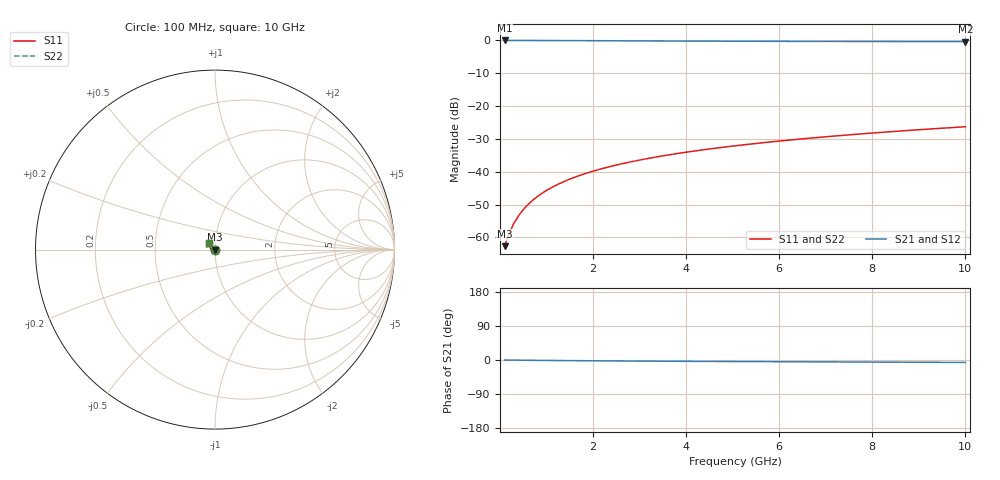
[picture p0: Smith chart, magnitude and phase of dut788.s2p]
! Touchstone file exported from HFSS 2024.1.0
!  File:  C:/UserFiles/LocalFiles/RDL_TSV_Batchsim/temp_TSV1_788_1779875185.aedt
!  Generated:  05:55:02 PM May 27, 2026
!  Design:  TSV1
!  Project:  temp_TSV1_788_1779875185
!  Setup:  Setup1
!  Solution:  Sweep
! Variables:
!  dtsv = 5.38um
!  hbump = 3um
!  htsv = 92.5um
!  lrdl = 252.1521522um
!  p = 40
!  p1 = 57.02um
!  t = 500um
!  trdl = 3um
!  wrdl = 24.89489489um
# GHz S MA R 50.000000
! Terminal data exported
! Port[1] = TSV22_T1
! Port[2] = TSV22_T2
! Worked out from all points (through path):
!   100 points, 100 MHz to 10 GHz, reference 50 ohm
!   highest |S21| = 0.00 dB at 100 MHz (marker M1); lowest = -0.4 dB at 10 GHz (marker M2)
!   lowest |S11| = -62.7 dB at 100 MHz (marker M3), VSWR 1.00, Z = 50.1 - j0.0534 ohm
!   |S11| at or under -10 dB: start of sweep to end of sweep
!   |S22| runs from -62.7 to -26.3 dB; largest |S21 - S12| = 6.5e-15
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0.1  0.0007348 -46.6  0.9994 -0.1  0.9994 -0.1  0.0007348 -46.6
! Gamma 0 0 0 0
! Port Impedance 50 0 50 0
0.2  0.001161 -68.1  0.9993 -0.2  0.9993 -0.2  0.001161 -68.1
0.3  0.001641 -79.3  0.9992 -0.4  0.9992 -0.4  0.001641 -79.3
0.4  0.002139 -86.7  0.999 -0.5  0.999 -0.5  0.002139 -86.7
0.5  0.002643 -92.3  0.9988 -0.6  0.9988 -0.6  0.002643 -92.3
0.6  0.003151 -97.0  0.9985 -0.7  0.9985 -0.7  0.003151 -97.0
0.7  0.00366 -101.1  0.9982 -0.8  0.9982 -0.8  0.00366 -101.1
0.9  0.004678 -108.4  0.9974 -1.0  0.9974 -1.0  0.004678 -108.4
1  0.005187 -111.7  0.9969 -1.1  0.9969 -1.1  0.005187 -111.7
1.2  0.0062 -118.0  0.9959 -1.3  0.9959 -1.3  0.0062 -118.0
1.5  0.00771 -126.6  0.9942 -1.6  0.9942 -1.6  0.00771 -126.6
1.8  0.009206 -134.6  0.9923 -1.9  0.9923 -1.9  0.009206 -134.6
2.1  0.01069 -141.9  0.9903 -2.2  0.9903 -2.2  0.01069 -141.9
2.5  0.01264 -151.0  0.9876 -2.5  0.9876 -2.5  0.01264 -151.0
2.9  0.01458 -159.2  0.9848 -2.8  0.9848 -2.8  0.01458 -159.2
3.4  0.01697 -168.4  0.9816 -3.1  0.9816 -3.1  0.01697 -168.4
4.2  0.02078 178.9  0.977 -3.6  0.977 -3.6  0.02078 178.9
5.1  0.02505 167.3  0.9727 -4.1  0.9727 -4.1  0.02505 167.3
5.9  0.02885 158.8  0.9696 -4.5  0.9696 -4.5  0.02885 158.8
6.7  0.03265 151.6  0.967 -4.8  0.967 -4.8  0.03265 151.6
8.4  0.04076 139.7  0.9628 -5.7  0.9628 -5.7  0.04076 139.7
10  0.04842 131.2  0.96 -6.4  0.96 -6.4  0.04842 131.2
